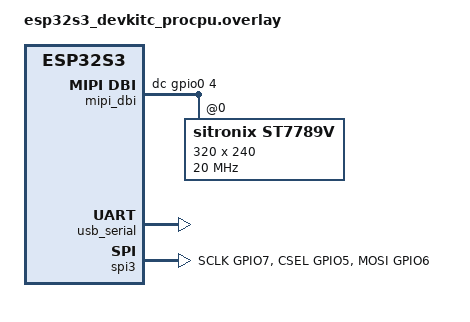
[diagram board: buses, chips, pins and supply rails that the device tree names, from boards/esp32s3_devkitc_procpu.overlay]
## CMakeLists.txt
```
cmake_minimum_required(VERSION 3.20.0)
find_package(Zephyr REQUIRED HINTS $ENV{ZEPHYR_BASE})
project(lcd_test)

target_sources(app PRIVATE src/main.c)
```

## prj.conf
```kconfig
CONFIG_PRINTK=y
CONFIG_CONSOLE=y
CONFIG_SERIAL=y
CONFIG_GPIO=y
CONFIG_SPI=y
CONFIG_DISPLAY=y
CONFIG_MIPI_DBI=y
```

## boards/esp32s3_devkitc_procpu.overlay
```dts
/* CHD-ESP32-S3-BOX: LCD ST7789V 2.8" 320x240 SPI Display */

#include <zephyr/dt-bindings/pinctrl/esp-pinctrl-common.h>
#include <dt-bindings/pinctrl/esp32s3-pinctrl.h>
#include <zephyr/dt-bindings/pinctrl/esp32s3-gpio-sigmap.h>
#include <zephyr/dt-bindings/mipi_dbi/mipi_dbi.h>

/ {
	chosen {
		zephyr,console = &usb_serial;
		zephyr,shell-uart = &usb_serial;
		zephyr,display = &st7789v;
	};

	mipi_dbi {
		compatible = "zephyr,mipi-dbi-spi";
		dc-gpios = <&gpio0 4 GPIO_ACTIVE_HIGH>;
		spi-dev = <&spi3>;
		write-only;
		#address-cells = <1>;
		#size-cells = <0>;

		st7789v: st7789v@0 {
			compatible = "sitronix,st7789v";
			mipi-max-frequency = <20000000>;
			reg = <0>;
			width = <320>;
			height = <240>;
			x-offset = <0>;
			y-offset = <0>;
			vcom = <0x19>;
			gctrl = <0x35>;
			vrhs = <0x12>;
			vdvs = <0x20>;
			mdac = <0x60>;
			gamma = <0x01>;
			colmod = <0x55>;
			lcm = <0x2c>;
			porch-param = [0c 0c 00 33 33];
			cmd2en-param = [5a 69 02 01];
			pwctrl1-param = [a4 a1];
			pvgam-param = [D0 04 0D 11 13 2B 3F 54 4C 18 0D 0B 1F 23];
			nvgam-param = [D0 04 0C 11 13 2C 3F 44 51 2F 1F 1F 20 23];
			ram-param = [00 F0];
			rgb-param = [CD 08 14];
			mipi-mode = "MIPI_DBI_MODE_SPI_4WIRE";
		};
	};
};

&usb_serial {
	status = "okay";
};

&pinctrl {
	spim3_default: spim3_default {
		group1 {
			pinmux = <SPIM3_SCLK_GPIO7>,
				 <SPIM3_CSEL_GPIO5>;
		};
		group2 {
			pinmux = <SPIM3_MOSI_GPIO6>;
			output-low;
		};
	};
};

&spi3 {
	#address-cells = <1>;
	#size-cells = <0>;
	status = "okay";
	pinctrl-0 = <&spim3_default>;
	pinctrl-names = "default";
};
```

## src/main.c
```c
#include <zephyr/kernel.h>
#include <zephyr/device.h>
#include <zephyr/drivers/display.h>
#include <zephyr/drivers/gpio.h>

/* Backlight on IO47 */
#define BLK_NODE DT_NODELABEL(gpio1)
#define BLK_PIN  (47 - 32) /* GPIO47 is on gpio1, pin 15 */

static void fill_screen(const struct device *display, uint16_t color)
{
	struct display_buffer_descriptor desc;
	struct display_capabilities caps;

	display_get_capabilities(display, &caps);

	uint16_t w = caps.x_resolution;
	uint16_t h = caps.y_resolution;

	/* Fill one row at a time to save RAM */
	uint16_t buf[320];

	for (int i = 0; i < w; i++) {
		buf[i] = color;
	}

	desc.buf_size = w * sizeof(uint16_t);
	desc.width = w;
	desc.height = 1;
	desc.pitch = w;

	for (int y = 0; y < h; y++) {
		display_write(display, 0, y, &desc, buf);
	}
}

int main(void)
{
	const struct device *display = DEVICE_DT_GET(DT_CHOSEN(zephyr_display));
	const struct device *gpio1 = DEVICE_DT_GET(DT_NODELABEL(gpio1));

	printk("\n*** CHD-ESP32-S3-BOX LCD Test ***\n");

	/* Turn on backlight (IO47 = gpio1 pin 15) */
	if (device_is_ready(gpio1)) {
		gpio_pin_configure(gpio1, BLK_PIN, GPIO_OUTPUT_ACTIVE);
		gpio_pin_set(gpio1, BLK_PIN, 1);
		printk("Backlight ON (IO47)\n");
	} else {
		printk("WARNING: gpio1 not ready, backlight may be off\n");
	}

	if (!device_is_ready(display)) {
		printk("ERROR: Display device not ready\n");
		return -1;
	}

	printk("Display: %s\n", display->name);

	struct display_capabilities caps;
	display_get_capabilities(display, &caps);
	printk("Resolution: %dx%d, pixel_format=%d\n",
	       caps.x_resolution, caps.y_resolution,
	       caps.current_pixel_format);

	display_blanking_off(display);

	/* Color cycle: Red, Green, Blue */
	const struct {
		uint16_t color;
		const char *name;
	} colors[] = {
		{0xF800, "RED"},
		{0x07E0, "GREEN"},
		{0x001F, "BLUE"},
		{0xFFFF, "WHITE"},
		{0x0000, "BLACK"},
	};

	while (1) {
		for (int i = 0; i < ARRAY_SIZE(colors); i++) {
			printk("Filling: %s (0x%04x)\n",
			       colors[i].name, colors[i].color);
			fill_screen(display, colors[i].color);
			k_msleep(2000);
		}
	}

	return 0;
}
```
